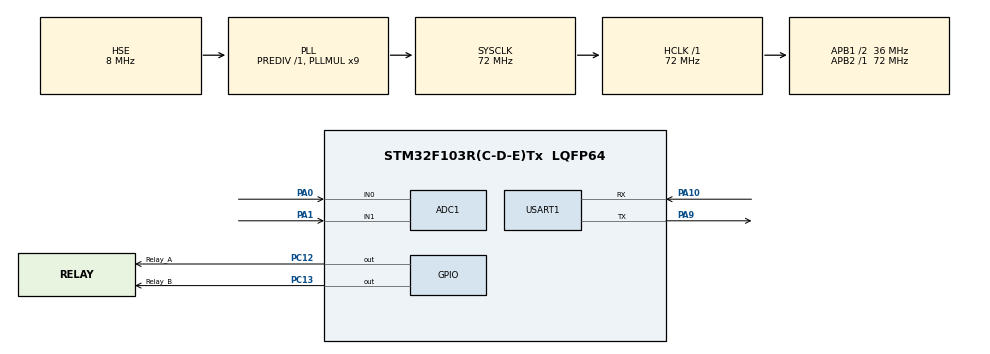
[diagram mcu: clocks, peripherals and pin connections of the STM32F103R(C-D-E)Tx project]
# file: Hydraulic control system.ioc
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ADC1.Channel-0\#ChannelRegularConversion=ADC_CHANNEL_0
ADC1.Channel-1\#ChannelRegularConversion=ADC_CHANNEL_0
ADC1.ExternalTrigConv=ADC_EXTERNALTRIGCONV_T3_TRGO
ADC1.NbrOfConversion=2
ADC1.NbrOfConversionFlag=1
ADC1.Rank-0\#ChannelRegularConversion=1
ADC1.Rank-1\#ChannelRegularConversion=2
ADC1.SamplingTime-0\#ChannelRegularConversion=ADC_SAMPLETIME_71CYCLES_5
ADC1.SamplingTime-1\#ChannelRegularConversion=ADC_SAMPLETIME_71CYCLES_5
ADC1.master=1
Dma.ADC1.0.Direction=DMA_PERIPH_TO_MEMORY
Dma.ADC1.0.Instance=DMA1_Channel1
Dma.ADC1.0.MemDataAlignment=DMA_MDATAALIGN_HALFWORD
Dma.ADC1.0.MemInc=DMA_MINC_ENABLE
Dma.ADC1.0.Mode=DMA_NORMAL
Dma.ADC1.0.PeriphDataAlignment=DMA_PDATAALIGN_HALFWORD
Dma.ADC1.0.PeriphInc=DMA_PINC_DISABLE
Dma.ADC1.0.Priority=DMA_PRIORITY_LOW
Dma.Request0=ADC1
Mcu.Family=STM32F1
Mcu.Name=STM32F103R(C-D-E)Tx
Mcu.Package=LQFP64
NVIC.DMA1_Channel1_IRQn=true\:0\:0\:false\:false\:true\:false\:true\:true
NVIC.PriorityGroup=NVIC_PRIORITYGROUP_4
NVIC.TIM3_IRQn=true\:0\:0\:false\:false\:true\:true\:true\:true
NVIC.USART1_IRQn=true\:1\:0\:true\:false\:true\:true\:true\:true
PA0-WKUP.Signal=ADCx_IN0
PA1.Signal=ADCx_IN1
PA10.Mode=Asynchronous
PA10.Signal=USART1_RX
PA13.Mode=Serial_Wire
PA13.Signal=SYS_JTMS-SWDIO
PA14.Mode=Serial_Wire
PA14.Signal=SYS_JTCK-SWCLK
PA9.Mode=Asynchronous
PA9.Signal=USART1_TX
PC12.GPIO_Label=Relay_A
PC12.Signal=GPIO_Output
PC13-TAMPER-RTC.GPIO_Label=Relay_B
PC13-TAMPER-RTC.Signal=GPIO_Output
PD0-OSC_IN.Mode=HSE-External-Oscillator
PD0-OSC_IN.Signal=RCC_OSC_IN
PD1-OSC_OUT.Mode=HSE-External-Oscillator
PD1-OSC_OUT.Signal=RCC_OSC_OUT
ProjectManager.HeapSize=0x400
ProjectManager.StackSize=0x400
ProjectManager.TargetToolchain=Makefile
RCC.ADCPresc=RCC_ADCPCLK2_DIV6
RCC.AHBFreq_Value=72000000
RCC.APB1CLKDivider=RCC_HCLK_DIV2
RCC.APB1Freq_Value=36000000
RCC.APB1TimFreq_Value=72000000
RCC.APB2Freq_Value=72000000
RCC.APB2TimFreq_Value=72000000
RCC.HCLKFreq_Value=72000000
RCC.PLLMUL=RCC_PLL_MUL9
RCC.PLLSourceVirtual=RCC_PLLSOURCE_HSE
RCC.SYSCLKFreq_VALUE=72000000
RCC.SYSCLKSource=RCC_SYSCLKSOURCE_PLLCLK
RCC.USBFreq_Value=72000000
SH.ADCx_IN0.0=ADC1_IN0,IN0
SH.ADCx_IN1.0=ADC1_IN1,IN1
TIM3.AutoReloadPreload=TIM_AUTORELOAD_PRELOAD_ENABLE
TIM3.Period=1000
TIM3.Prescaler=71
TIM3.TIM_MasterOutputTrigger=TIM_TRGO_UPDATE
USART1.VirtualMode=VM_ASYNC
VP_IWDG_VS_IWDG.Mode=IWDG_Activate
VP_TIM3_VS_ClockSourceINT.Mode=Internal
VP_TIM3_VS_ClockSourceITR.Mode=TriggerSource_ITR0
board=custom

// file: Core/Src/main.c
/* USER CODE BEGIN Header */
/**
  ******************************************************************************
  * @file           : main.c
  * @brief          : Main program body
  ******************************************************************************
  * @attention
  *
  * Copyright (c) 2023 STMicroelectronics.
  * All rights reserved.
  *
  * This software is licensed under terms that can be found in the LICENSE file
  * in the root directory of this software component.
  * If no LICENSE file comes with this software, it is provided AS-IS.
  *
  ******************************************************************************
  */
/* USER CODE END Header */
#include "main.h"
#include "adc.h"
#include "dma.h"
#include "iwdg.h"
#include "tim.h"
#include "usart.h"
#include "gpio.h"
#include <string.h>
#include <stdlib.h>
#include <stdio.h>

/* USER CODE BEGIN PM */
#define A1 70  //测量范围下限
#define A2 700 //测量范围上限
/* USER CODE END PM */

/* USER CODE BEGIN PV */
__IO uint16_t ADC_LOG[100]= {0};
uint16_t LOG_AVG_Data = 0;
static unsigned char pre_status = 0;
_Bool mode = 1;
float dis_set = 90;
uint16_t tick = 0;
char send_str[30] = {0x00,};
typedef struct
{
    /* data */
    uint8_t mode;
    uint8_t control;
    float dis_set;
    float dis_cur;
}Hydr_TypeDef;

Hydr_TypeDef hydr_dev ={
    0,
    0,
    0.0,
    0.0
};
/* USER CODE END PV */

void SystemClock_Config(void);
/* USER CODE BEGIN PFP */
float distance_calc(float a1,float a2,float ad_value);
int solenoid_valve_control(unsigned char new_status);
/* USER CODE END PFP */

int main(void)
{

  /* MCU Configuration--------------------------------------------------------*/

  /* Reset of all peripherals, Initializes the Flash interface and the Systick. */
  HAL_Init();

  /* Configure the system clock */
  SystemClock_Config();

  /* Initialize all configured peripherals */
  MX_GPIO_Init();
  MX_DMA_Init();
  MX_ADC1_Init();
  //MX_IWDG_Init();
  MX_TIM3_Init();
  MX_USART1_UART_Init();
  /* USER CODE BEGIN 2 */
  //HAL_ADCEx_Calibration_Start(&hadc1);
  //HAL_TIM_Base_Start(&htim3);
  //HAL_ADC_Start_DMA(&hadc1,(uint32_t *)ADC_LOG,100);

  /* USER CODE END 2 */

  /* Infinite loop */
  /* USER CODE BEGIN WHILE */
  while (1)
  {
    tick++;
    /*计算当前距离，并显示*/
    //hydr_dev.dis_cur = distance_calc(A1,A2,LOG_AVG_Data);
    //添加距离显示（打印函数）
    sprintf((char *)send_str,"wset dis_cur.valf %d.%d\r\n",((uint32_t)(hydr_dev.dis_cur*100))/100,((uint32_t)(hydr_dev.dis_cur*100))%100);
    HAL_UART_Transmit_IT(&huart1,(uint8_t *)send_str,strlen(send_str));
    /*如果是自动模式模式，根据当前距离和设定距离，计算出控制方法  0：stop 1：- 2：+*/
    if(hydr_dev.mode == 1){

        //检测距离小于预设距离，电池阀B得电，A断电，伸缩杆缩回
        if( hydr_dev.dis_set -  hydr_dev.dis_cur > 0.1)
            hydr_dev.control = 2;
        //检测距离大于预设距离，电池阀A得电，B断电，伸缩杆伸出
        else if(hydr_dev.dis_set - hydr_dev.dis_cur < -0.1)
            hydr_dev.control = 1;
        else
            hydr_dev.control = 0;
    }
    /*根据结构体中control属性，控制继电器通断，从而控制电机和相应电磁阀工作*/
    solenoid_valve_control(hydr_dev.control);

    HAL_Delay(20);
  }
  /* USER CODE END 3 */
}

void SystemClock_Config(void)
{
  RCC_OscInitTypeDef RCC_OscInitStruct = {0};
  RCC_ClkInitTypeDef RCC_ClkInitStruct = {0};
  RCC_PeriphCLKInitTypeDef PeriphClkInit = {0};

  /** Initializes the RCC Oscillators according to the specified parameters
  * in the RCC_OscInitTypeDef structure.
  */
  RCC_OscInitStruct.OscillatorType = RCC_OSCILLATORTYPE_LSI|RCC_OSCILLATORTYPE_HSE;
  RCC_OscInitStruct.HSEState = RCC_HSE_ON;
  RCC_OscInitStruct.HSEPredivValue = RCC_HSE_PREDIV_DIV1;
  RCC_OscInitStruct.HSIState = RCC_HSI_ON;
  RCC_OscInitStruct.LSIState = RCC_LSI_ON;
  RCC_OscInitStruct.PLL.PLLState = RCC_PLL_ON;
  RCC_OscInitStruct.PLL.PLLSource = RCC_PLLSOURCE_HSE;
  RCC_OscInitStruct.PLL.PLLMUL = RCC_PLL_MUL9;
  if (HAL_RCC_OscConfig(&RCC_OscInitStruct) != HAL_OK)
  {
    Error_Handler();
  }

  /** Initializes the CPU, AHB and APB buses clocks
  */
  RCC_ClkInitStruct.ClockType = RCC_CLOCKTYPE_HCLK|RCC_CLOCKTYPE_SYSCLK
                              |RCC_CLOCKTYPE_PCLK1|RCC_CLOCKTYPE_PCLK2;
  RCC_ClkInitStruct.SYSCLKSource = RCC_SYSCLKSOURCE_PLLCLK;
  RCC_ClkInitStruct.AHBCLKDivider = RCC_SYSCLK_DIV1;
  RCC_ClkInitStruct.APB1CLKDivider = RCC_HCLK_DIV2;
  RCC_ClkInitStruct.APB2CLKDivider = RCC_HCLK_DIV1;

  if (HAL_RCC_ClockConfig(&RCC_ClkInitStruct, FLASH_LATENCY_2) != HAL_OK)
  {
    Error_Handler();
  }
  PeriphClkInit.PeriphClockSelection = RCC_PERIPHCLK_ADC;
  PeriphClkInit.AdcClockSelection = RCC_ADCPCLK2_DIV6;
  if (HAL_RCCEx_PeriphCLKConfig(&PeriphClkInit) != HAL_OK)
  {
    Error_Handler();
  }
}

/* USER CODE BEGIN 4 */
/**
 * @brief ADC IRQ Callback
 *
 */
void HAL_ADC_ConvCpltCallback(ADC_HandleTypeDef* hadc)
{
  uint32_t i, sum = 0;
	if (hadc->Instance == hadc1.Instance)
	{
    for(i=0;i<100;++i)
      sum += ADC_LOG[i];
    LOG_AVG_Data = sum / 100;

	}
}
/**
 * @brief 根据adc值 计算实时距离
 *
 */
float distance_calc(float a1,float a2,float ad_value){
    /*
    * a1- 70 ,a2 - 1000,dis = (a2 - a1) / (2440 - 10) * (ad_value - 10) + a1
    *     60        2450
    */
   return((a2-a1)/2430 * (ad_value - 10)+ a1);
}
/**
 * @brief  电池阀控制
 *  0 - 电池阀A断电 ，电池阀B断电
 *  1 - 电池阀A得电，电池阀B断电
 *  2 - 电池阀A断电，电池阀B得电
 */

int solenoid_valve_control(unsigned char new_status){
    if(new_status == pre_status)
        return 0;
    else{
        switch (new_status)
        {
            case 0 :
            {
                HAL_GPIO_WritePin(Relay_A_GPIO_Port, Relay_A_Pin, GPIO_PIN_RESET);
                HAL_GPIO_WritePin(Relay_B_GPIO_Port, Relay_B_Pin, GPIO_PIN_RESET);
            }
             break;
            case 1 :
            {
                HAL_GPIO_WritePin(Relay_A_GPIO_Port, Relay_A_Pin, GPIO_PIN_SET);
                HAL_GPIO_WritePin(Relay_B_GPIO_Port, Relay_B_Pin, GPIO_PIN_RESET);
            }
             break;
            case 2 :
            {
                HAL_GPIO_WritePin(Relay_A_GPIO_Port, Relay_A_Pin, GPIO_PIN_RESET);
                HAL_GPIO_WritePin(Relay_B_GPIO_Port, Relay_B_Pin, GPIO_PIN_SET);
            }
             break;
            default:
                return -1;
                break;
        }
    }
    pre_status = new_status;
    return 1;
}

void HAL_UARTEx_RxEventCallback(UART_HandleTypeDef *huart, uint16_t Size)
{

		if(huart->Instance == USART1){
			memcpy(cmd_data,Uart_ReadCache,Size);
            cmd_size  = Size;
            char *p = NULL;
            //解析串口接收数据
            if(cmd_size > 0)
            {
                if(strstr(cmd_data,"mode:auto\r\n") != NULL)
                {
                    hydr_dev.mode  = 1;
                }
                else if(strstr(cmd_data,"mode:manual\r\n") != NULL)
                {
                    hydr_dev.mode  = 0;
                }
                else if((p = strstr(cmd_data,"dis_set:")) != NULL){
                    float setdis = atof(p+8);
                    //判断输入数据是否在检测范围内
                    if(( setdis >= 70) &&( setdis <= 1000))
                      hydr_dev.dis_set  = setdis;
                }
                else if(strstr(cmd_data,"dis:+\r\n") != NULL){
                    hydr_dev.control = 2;
                }
                else if(strstr(cmd_data,"dis:-\r\n") != NULL){
                    hydr_dev.control = 1;
                }
                else if (strstr(cmd_data,"stop\r\n") != NULL)
                {
                    hydr_dev.control = 0;
                }
                else
                ;
                memset(cmd_data,0x00,cmd_size);
                cmd_size = 0;
            }
			memset(Uart_ReadCache,0x00,300);
			HAL_UARTEx_ReceiveToIdle_IT(&huart1, Uart_ReadCache, 300);
		}
    else	if(huart->Instance == USART2){
			memcpy(dis_data,Uart2_ReadCache,Size);
            dis_size  = Size;
            char *p = NULL;
            //解析串口接收数据
            if(dis_size > 0)
            {
                if(strstr(dis_data,",") != NULL)
                {
                    hydr_dev.dis_cur = strtod(dis_data,NULL);
                }
                else
                ;
                memset(dis_data,0x00,dis_size);
                dis_size = 0;
            }
			memset(Uart2_ReadCache,0x00,100);
			HAL_UARTEx_ReceiveToIdle_IT(&huart2, Uart2_ReadCache, 100);
		}

}
/* USER CODE END 4 */

void Error_Handler(void)
{
  __disable_irq();
  while (1)
  {
  }
}
